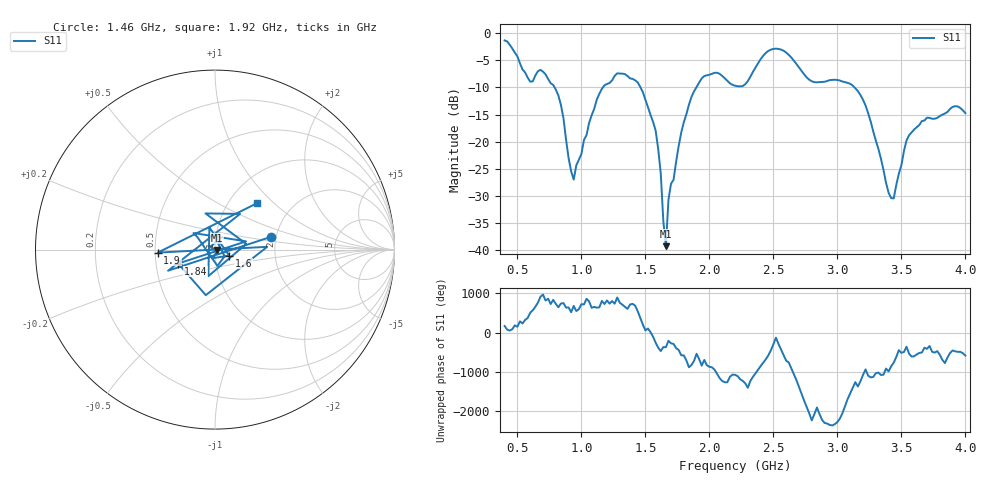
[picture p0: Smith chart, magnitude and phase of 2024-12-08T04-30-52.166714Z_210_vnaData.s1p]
!Created with skrf (http://scikit-rf.org).
# Hz S RI R 50.0
!freq ReS11 ImS11
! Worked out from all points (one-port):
!   181 points, 400 MHz to 4 GHz, reference 50 ohm
!   lowest |S11| = -39.2 dB at 1.66 GHz (marker M1), VSWR 1.02, Z = 51.1 - j0.212 ohm
!   |S11| at or under -10 dB: 790.9 MHz to 1.168 GHz (376.8 MHz wide, 38.5 % of centre); 1.462 GHz to 1.898 GHz (435.7 MHz wide, 25.9 % of centre); 3.134 GHz to end of sweep
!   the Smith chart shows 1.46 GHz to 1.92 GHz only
!   S11 on the Smith chart (normalised r, x): 1.46 GHz: 1.88, +0.30; 1.6 GHz: 1.17, -0.08; 1.84 GHz: 0.65, -0.11; 1.9 GHz: 0.52, -0.02; 1.92 GHz: 1.35, +0.80
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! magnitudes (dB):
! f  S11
! 400 MHz  -1.3
! 600 MHz  -8.9
! 720 MHz  -7.6
! 820 MHz  -11.5
! 860 MHz  -15.7
! 940 MHz  -27.0
! 1.12 GHz  -12.2
! 1.3 GHz  -7.4
! 1.46 GHz  -9.9
! 1.58 GHz  -17.9
! 1.6 GHz  -21.3
! 1.66 GHz  -39.2
! 1.68 GHz  -30.7
! 1.76 GHz  -20.8
! 1.84 GHz  -13.2
! 1.9 GHz  -9.9
! 1.92 GHz  -9.1
! 2.06 GHz  -7.3
! 2.2 GHz  -9.7
! 2.48 GHz  -3.0
! 2.66 GHz  -5.1
! 2.8 GHz  -8.9
! 3.1 GHz  -9.3
! 3.22 GHz  -13.3
! 3.42 GHz  -30.4
! 3.56 GHz  -18.8
! 3.9 GHz  -13.6
! 4 GHz  -14.7
